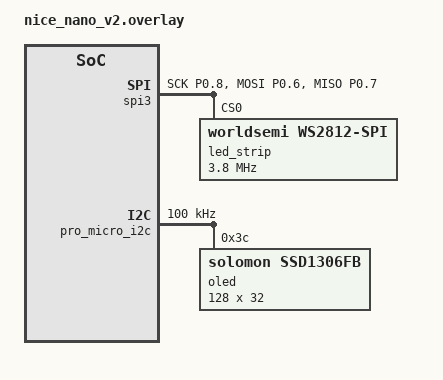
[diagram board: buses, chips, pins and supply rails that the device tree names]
#include <dt-bindings/led/led.h>

&pinctrl {
    i2c0_default: i2c0_default {
        group1 {
            psels = <NRF_PSEL(TWIM_SDA, 0, 17)>,
                    <NRF_PSEL(TWIM_SCL, 0, 20)>;
        };
    };

    i2c0_sleep: i2c0_sleep {
        group1 {
            psels = <NRF_PSEL(TWIM_SDA, 0, 17)>,
                    <NRF_PSEL(TWIM_SCL, 0, 20)>;
            low-power-enable;
        };
    };

    spi3_default: spi3_default {
        group1 {
            psels = <NRF_PSEL(SPIM_SCK, 0, 8)>,
                    <NRF_PSEL(SPIM_MOSI, 0, 6)>,
                    <NRF_PSEL(SPIM_MISO, 0, 7)>;
        };
    };

    spi3_sleep: spi3_sleep {
        group1 {
            psels = <NRF_PSEL(SPIM_MOSI, 0, 6)>;
            low-power-enable;
        };
    };
};

&spi3 {
    compatible = "nordic,nrf-spim";
    status = "okay";
    pinctrl-0 = <&spi3_default>;
    pinctrl-1 = <&spi3_sleep>;
    pinctrl-names = "default", "sleep";

    led_strip: ws2812@0 {
        compatible = "worldsemi,ws2812-spi";
        reg = <0>;
        spi-max-frequency = <3800000>;
        chain-length = <20>;
        spi-one-frame = <0x70>;
        spi-zero-frame = <0x40>;
        color-mapping = <LED_COLOR_ID_RED LED_COLOR_ID_GREEN LED_COLOR_ID_BLUE>;
    };
};

/ {
    chosen {
        zmk,underglow = &led_strip;
        zephyr,display = &oled;
    };

    /* CRITICAL: Explicitly declare device dependency */
    leds {
        compatible = "zmk,led-strip";
        led_strip = &led_strip;
    };
};

&pro_micro_i2c {
    status = "okay";
    
    /* Standard speed by default */
    clock-frequency = <100000>;
    
    oled: ssd1306@3c {
        compatible = "solomon,ssd1306fb";
        reg = <0x3c>;
        width = <128>;
        height = <32>;
        segment-offset = <0>;
        page-offset = <0>;
        display-offset = <0>;
        multiplex-ratio = <31>;
        segment-remap;
        com-invdir;
        com-sequential;
        inversion-on;
        prechargep = <0x22>;
    };
};
